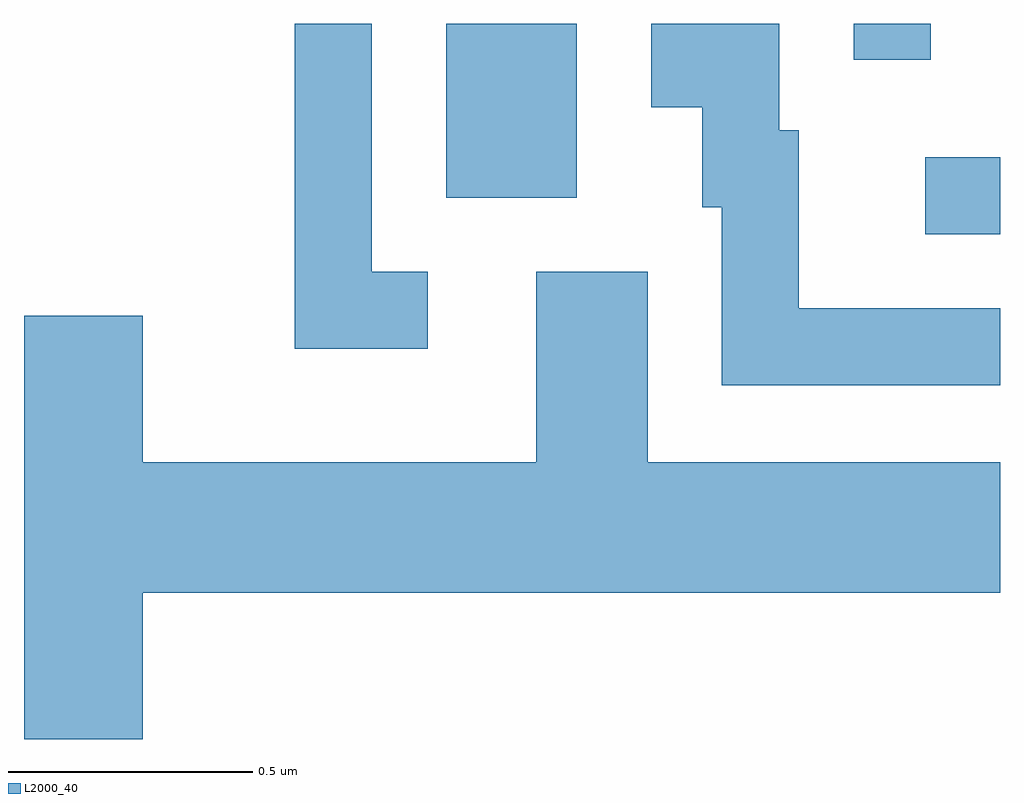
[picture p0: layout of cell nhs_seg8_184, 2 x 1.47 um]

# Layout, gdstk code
import gdstk
lib = gdstk.Library(unit=1e-6, precision=1e-09)
def R(c, l, rs):  # rectangles x0, y0, x1, y1
    for r in rs: c.add(gdstk.rectangle(r[:2], r[2:], *l))
def P(c, l, *ps):  # polygons
    for p in ps: c.add(gdstk.Polygon(p, *l))
L2000_40 = (2000, 40)

nhs_seg8_184 = lib.new_cell('nhs_seg8_184')
R(nhs_seg8_184, L2000_40, [(188.458,1854.911,188.611,1855.069), (187.476,1854.986,187.744,1855.342), (188.311,1855.268,188.469,1855.342)])
P(nhs_seg8_184, L2000_40, [(187.438,1854.834),(187.324,1854.834),(187.324,1855.342),(187.166,1855.342),(187.166,1854.676),(187.438,1854.676)],
  [(188.611,1854.759),(188.199,1854.759),(188.199,1855.124),(188.159,1855.124),(188.159,1855.342),(187.896,1855.342),(187.896,1855.171),(188.001,1855.171),(188.001,1854.966),(188.041,1854.966),(188.041,1854.601),(188.611,1854.601)],
  [(186.854,1854.176),(188.611,1854.176),(188.611,1854.444),(187.889,1854.444),(187.889,1854.834),(187.661,1854.834),(187.661,1854.444),(186.854,1854.444),(186.854,1854.744),(186.611,1854.744),(186.611,1853.876),(186.854,1853.876)])

lib.write_gds('nhs_seg8_184.gds')
